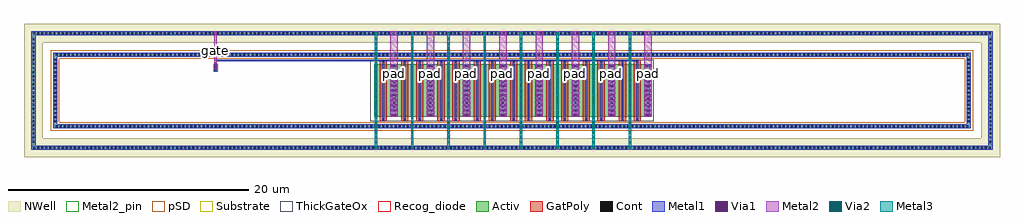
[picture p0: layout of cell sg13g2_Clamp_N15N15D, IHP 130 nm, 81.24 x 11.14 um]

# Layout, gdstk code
import gdstk
lib = gdstk.Library(unit=1e-6, precision=1e-09)
def R(c, l, rs):  # rectangles x0, y0, x1, y1
    for r in rs: c.add(gdstk.rectangle(r[:2], r[2:], *l))
def A(c, l, x, y, w, h, nx, ny, dx, dy):  # array of equal rectangles
    R(c, l, [(x+i*dx, y+j*dy, x+i*dx+w, y+j*dy+h) for i in range(nx) for j in range(ny)])
def P(c, l, *ps):  # polygons
    for p in ps: c.add(gdstk.Polygon(p, *l))
Activ = (1, 0)
GatPoly = (5, 0)
Cont = (6, 0)
Metal1 = (8, 0)
Metal2 = (10, 0)
Metal2_pin = (10, 2)
pSD = (14, 0)
Via1 = (19, 0)
Via2 = (29, 0)
Metal3 = (30, 0)
NWell = (31, 0)
Substrate = (40, 0)
ThickGateOx = (44, 0)
Recog_diode = (99, 31)

sg13g2_guardring_n16000w = lib.new_cell('sg13g2_GuardRing_N16000W1980HFF')
P(sg13g2_guardring_n16000w, Activ, [(-40,-4.95),(-40,4.61),(-39.66,4.61),(-39.66,-4.61),(39.66,-4.61),(39.66,4.61),(-40,4.61),(-40,4.95),(40,4.95),(40,-4.95)])
A(sg13g2_guardring_n16000w, Cont, -39.86, -4.86, 0.16, 0.16, 235, 2, 0.34, 9.56)
A(sg13g2_guardring_n16000w, Cont, -39.91, -4.33, 0.16, 0.16, 1, 26, 0, 0.34)
A(sg13g2_guardring_n16000w, Cont, 39.75, -4.33, 0.16, 0.16, 1, 26, 0, 0.34)
P(sg13g2_guardring_n16000w, Metal1, [(-40,-4.95),(-40,4.61),(-39.66,4.61),(-39.66,-4.61),(39.66,-4.61),(39.66,4.61),(-40,4.61),(-40,4.95),(40,4.95),(40,-4.95)])
P(sg13g2_guardring_n16000w, NWell, [(-40.62,-5.57),(-40.62,3.99),(-39.04,3.99),(-39.04,-3.99),(39.04,-3.99),(39.04,3.99),(-40.62,3.99),(-40.62,5.57),(40.62,5.57),(40.62,-5.57)])

sg13g2_guardring_p15280w = lib.new_cell('sg13g2_GuardRing_P15280W1260HFF')
P(sg13g2_guardring_p15280w, Activ, [(-38.2,-3.15),(-38.2,2.81),(-37.86,2.81),(-37.86,-2.81),(37.86,-2.81),(37.86,2.81),(-38.2,2.81),(-38.2,3.15),(38.2,3.15),(38.2,-3.15)])
A(sg13g2_guardring_p15280w, Cont, -37.99, -3.06, 0.16, 0.16, 224, 2, 0.34, 5.96)
A(sg13g2_guardring_p15280w, Cont, -38.11, -2.63, 0.16, 0.16, 1, 16, 0, 0.34)
A(sg13g2_guardring_p15280w, Cont, 37.95, -2.63, 0.16, 0.16, 1, 16, 0, 0.34)
P(sg13g2_guardring_p15280w, Metal1, [(-38.2,-3.15),(-38.2,2.81),(-37.86,2.81),(-37.86,-2.81),(37.86,-2.81),(37.86,2.81),(-38.2,2.81),(-38.2,3.15),(38.2,3.15),(38.2,-3.15)])
P(sg13g2_guardring_p15280w, pSD, [(-38.38,-3.33),(-38.38,2.63),(-37.68,2.63),(-37.68,-2.63),(37.68,-2.63),(37.68,2.63),(-38.38,2.63),(-38.38,3.33),(38.38,3.33),(38.38,-3.33)])
P(sg13g2_guardring_p15280w, Substrate, [(-38.2,-3.15),(-38.2,2.81),(-37.86,2.81),(-37.86,-2.81),(37.86,-2.81),(37.86,2.81),(-38.2,2.81),(-38.2,3.15),(38.2,3.15),(38.2,-3.15)])
sg13g2_guardring_p15280w.add(gdstk.Label('sub!', (-38.03,-2.98), layer=63, texttype=0))

sg13g2_clamp_n15n15d = lib.new_cell('sg13g2_Clamp_N15N15D')
R(sg13g2_clamp_n15n15d, Activ, [(28.525,2.75,51.475,7.15), (15.18,6.51,15.48,7.15)])
R(sg13g2_clamp_n15n15d, GatPoly, [(28.995,2.38,29.595,7.52), (30.775,2.38,31.375,7.52), (32.015,2.38,32.615,7.52), (33.795,2.38,34.395,7.52), (35.035,2.38,35.635,7.52), (36.815,2.38,37.415,7.52), (38.055,2.38,38.655,7.52), (39.835,2.38,40.435,7.52), (41.075,2.38,41.675,7.52), (42.855,2.38,43.455,7.52), (44.095,2.38,44.695,7.52), (45.875,2.38,46.475,7.52), (47.115,2.38,47.715,7.52), (48.895,2.38,49.495,7.52), (50.135,2.38,50.735,7.52)])
A(sg13g2_clamp_n15n15d, Cont, 28.595, 2.83, 0.16, 0.16, 16, 13, 1.51, 0.34)
R(sg13g2_clamp_n15n15d, Cont, [(29.215,2.45,29.375,2.61), (30.995,2.45,31.155,2.61), (32.235,2.45,32.395,2.61), (34.015,2.45,34.175,2.61), (35.255,2.45,35.415,2.61), (37.035,2.45,37.195,2.61), (38.275,2.45,38.435,2.61), (40.055,2.45,40.215,2.61), (41.295,2.45,41.455,2.61), (43.075,2.45,43.235,2.61), (44.315,2.45,44.475,2.61), (46.095,2.45,46.255,2.61), (47.335,2.45,47.495,2.61), (49.115,2.45,49.275,2.61), (50.355,2.45,50.515,2.61), (15.25,6.58,15.41,6.74), (15.25,6.92,15.41,7.08), (29.215,7.29,29.375,7.45), (30.995,7.29,31.155,7.45), (32.235,7.29,32.395,7.45), (34.015,7.29,34.175,7.45), (35.255,7.29,35.415,7.45), (37.035,7.29,37.195,7.45), (38.275,7.29,38.435,7.45), (40.055,7.29,40.215,7.45), (41.295,7.29,41.455,7.45), (43.075,7.29,43.235,7.45), (44.315,7.29,44.475,7.45), (46.095,7.29,46.255,7.45), (47.335,7.29,47.495,7.45), (49.115,7.29,49.275,7.45), (50.355,7.29,50.515,7.45)])
A(sg13g2_clamp_n15n15d, Metal1, 28.57, 1.8, 0.21, 0.34, 8, 2, 3.02, 5.96)
A(sg13g2_clamp_n15n15d, Metal1, 28.57, 2.75, 0.21, 4.4, 8, 1, 3.02, 0)
A(sg13g2_clamp_n15n15d, Metal1, 29.875, 2.75, 0.62, 4.4, 8, 1, 3.02, 0)
P(sg13g2_clamp_n15n15d, Metal1, [(29.215,2.37),(29.215,7.37),(15.435,7.37),(15.435,6.5),(15.225,6.5),(15.225,7.53),(50.515,7.53),(50.515,2.37),(50.355,2.37),(50.355,7.37),(49.275,7.37),(49.275,2.37),(49.115,2.37),(49.115,7.37),(47.495,7.37),(47.495,2.37),(47.335,2.37),(47.335,7.37),(46.255,7.37),(46.255,2.37),(46.095,2.37),(46.095,7.37),(44.475,7.37),(44.475,2.37),(44.315,2.37),(44.315,7.37),(43.235,7.37),(43.235,2.37),(43.075,2.37),(43.075,7.37),(41.455,7.37),(41.455,2.37),(41.295,2.37),(41.295,7.37),(40.215,7.37),(40.215,2.37),(40.055,2.37),(40.055,7.37),(38.435,7.37),(38.435,2.37),(38.275,2.37),(38.275,7.37),(37.195,7.37),(37.195,2.37),(37.035,2.37),(37.035,7.37),(35.415,7.37),(35.415,2.37),(35.255,2.37),(35.255,7.37),(34.175,7.37),(34.175,2.37),(34.015,2.37),(34.015,7.37),(32.395,7.37),(32.395,2.37),(32.235,2.37),(32.235,7.37),(31.155,7.37),(31.155,2.37),(30.995,2.37),(30.995,7.37),(29.375,7.37),(29.375,2.37)])
A(sg13g2_clamp_n15n15d, Metal2, 28.575, 0, 0.2, 9.9, 8, 1, 3.02, 0)
A(sg13g2_clamp_n15n15d, Metal2, 29.88, 2.755, 0.61, 7.145, 8, 1, 3.02, 0)
R(sg13g2_clamp_n15n15d, Metal2, [(15.23,6.665,15.43,9.9)])
A(sg13g2_clamp_n15n15d, Metal2_pin, 29.88, 2.755, 0.61, 7.145, 8, 1, 3.02, 0)
R(sg13g2_clamp_n15n15d, Metal2_pin, [(15.23,6.665,15.43,9.9)])
A(sg13g2_clamp_n15n15d, Via1, 28.58, 1.875, 0.19, 0.19, 8, 2, 3.02, 5.96)
A(sg13g2_clamp_n15n15d, Via1, 28.58, 2.805, 0.19, 0.19, 1, 11, 0, 0.41)
A(sg13g2_clamp_n15n15d, Via1, 29.885, 2.805, 0.19, 0.19, 1, 11, 0, 0.41)
A(sg13g2_clamp_n15n15d, Via1, 30.295, 2.805, 0.19, 0.19, 3, 11, 1.305, 0.41)
A(sg13g2_clamp_n15n15d, Via1, 33.315, 2.805, 0.19, 0.19, 3, 11, 1.305, 0.41)
A(sg13g2_clamp_n15n15d, Via1, 36.335, 2.805, 0.19, 0.19, 3, 11, 1.305, 0.41)
A(sg13g2_clamp_n15n15d, Via1, 39.355, 2.805, 0.19, 0.19, 3, 11, 1.305, 0.41)
A(sg13g2_clamp_n15n15d, Via1, 42.375, 2.805, 0.19, 0.19, 3, 11, 1.305, 0.41)
A(sg13g2_clamp_n15n15d, Via1, 45.395, 2.805, 0.19, 0.19, 3, 11, 1.305, 0.41)
A(sg13g2_clamp_n15n15d, Via1, 48.415, 2.805, 0.19, 0.19, 3, 11, 1.305, 0.41)
A(sg13g2_clamp_n15n15d, Via1, 51.435, 2.805, 0.19, 0.19, 1, 11, 0, 0.41)
R(sg13g2_clamp_n15n15d, Via1, [(15.235,6.715,15.425,6.905), (15.235,7.125,15.425,7.315)])
A(sg13g2_clamp_n15n15d, Via2, 28.58, 0.14, 0.19, 0.19, 8, 24, 3.02, 0.41)
A(sg13g2_clamp_n15n15d, Metal3, 28.575, 0.09, 0.2, 9.72, 8, 1, 3.02, 0)
R(sg13g2_clamp_n15n15d, ThickGateOx, [(28.185,2.41,51.815,7.49)])
R(sg13g2_clamp_n15n15d, Recog_diode, [(15.16,6.49,15.5,7.17)])
sg13g2_clamp_n15n15d.add(gdstk.Reference(sg13g2_guardring_n16000w, (40,4.95)))
sg13g2_clamp_n15n15d.add(gdstk.Reference(sg13g2_guardring_p15280w, (40,4.95)))
sg13g2_clamp_n15n15d.add(gdstk.Label('pad', (36.225,6.328), layer=10, texttype=25))
sg13g2_clamp_n15n15d.add(gdstk.Label('pad', (30.185,6.328), layer=10, texttype=25))
sg13g2_clamp_n15n15d.add(gdstk.Label('pad', (51.325,6.328), layer=10, texttype=25))
sg13g2_clamp_n15n15d.add(gdstk.Label('pad', (33.205,6.328), layer=10, texttype=25))
sg13g2_clamp_n15n15d.add(gdstk.Label('pad', (45.285,6.328), layer=10, texttype=25))
sg13g2_clamp_n15n15d.add(gdstk.Label('pad', (39.245,6.328), layer=10, texttype=25))
sg13g2_clamp_n15n15d.add(gdstk.Label('pad', (48.305,6.328), layer=10, texttype=25))
sg13g2_clamp_n15n15d.add(gdstk.Label('pad', (42.265,6.328), layer=10, texttype=25))
sg13g2_clamp_n15n15d.add(gdstk.Label('gate', (15.33,8.282), layer=10, texttype=25))

lib.write_gds('sg13g2_Clamp_N15N15D.gds')
